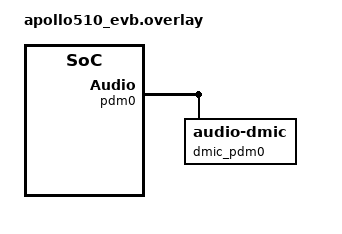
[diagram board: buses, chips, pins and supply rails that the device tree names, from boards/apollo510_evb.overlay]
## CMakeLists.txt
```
# SPDX-License-Identifier: Apache-2.0
cmake_minimum_required(VERSION 3.20.0)
find_package(Zephyr REQUIRED HINTS $ENV{ZEPHYR_BASE})
project(weaver_audio)
target_sources(app PRIVATE src/main.c)
```

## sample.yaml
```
sample:
  description: Weaver scheduler on Apollo510 EVB using on-board LEDs, buttons,
    and the SoC's PDM0 peripheral as the audio "click" source. No external
    Click board or shield required.
  name: Weaver Audio (Apollo510 EVB)
common:
  tags:
    - kernel
    - weaver
    - audio
  harness: console
  harness_config:
    type: one_line
    regex:
      - "Weaver Audio Demo Complete"
tests:
  sample.kernel.weaver_audio.apollo510_evb:
    platform_allow:
      - apollo510_evb
    integration_platforms:
      - apollo510_evb
  sample.kernel.weaver_audio.apollo510_evb.stock:
    platform_allow:
      - apollo510_evb
    integration_platforms:
      - apollo510_evb
    extra_args: EXTRA_CONF_FILE=stock.conf
```

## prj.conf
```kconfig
# Weaver audio sample for apollo510_evb (non-Blue variant).
# On-board hardware only: LEDs, buttons, and the SoC's PDM0.

CONFIG_WEAVER_SCHED=y
CONFIG_WEAVER_WEARABLE_PRESET=y
CONFIG_WEAVER_BATCH_SCALAR=y
CONFIG_WEAVER_TIMING=y

# Audio (DMIC) subsystem - depends on the apollo510 PDM driver
# being present in this Zephyr fork. If it isn't, the sample still
# builds; audio_sample just won't get real frames.
CONFIG_AUDIO=y
CONFIG_AUDIO_DMIC=y

# GPIO + LEDs + buttons
CONFIG_GPIO=y
CONFIG_LED=y
CONFIG_INPUT=y

CONFIG_LOG=y
CONFIG_LOG_MODE_MINIMAL=y
CONFIG_THREAD_NAME=y
CONFIG_THREAD_RUNTIME_STATS=y

CONFIG_MAIN_STACK_SIZE=4096
CONFIG_HEAP_MEM_POOL_SIZE=8192
CONFIG_SYS_CLOCK_TICKS_PER_SEC=1000
CONFIG_MP_MAX_NUM_CPUS=1

CONFIG_PM=y
CONFIG_PM_DEVICE=y
```

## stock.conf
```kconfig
# Stock baseline: same workload, no Weaver layer.
CONFIG_WEAVER_SCHED=n
```

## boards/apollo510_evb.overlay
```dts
/*
 * Copyright (c) 2026 Ambiq Micro, Inc.
 * SPDX-License-Identifier: Apache-2.0
 *
 * Overlay for the Apollo510 EVB weaver_audio sample.
 *
 * Enables the on-SoC PDM0 peripheral as a generic DMIC source.
 *
 * The exact pdm0 pinctrl group lives in the board pinctrl dtsi
 * (apollo510_evb-pinctrl.dtsi -> pdm0_default). If that node uses a
 * different name in your tree, adjust the pinctrl-0 reference below.
 *
 * AUDIO ROUTING ASSUMPTION:
 *   pdm0 is assumed to be wired to whatever DMIC is fitted on the
 *   EVB. If your apollo510_evb has no DMIC and you intend to wire
 *   an external mic, override the pinmux in your own product
 *   overlay to route to GPIOs you can reach.
 */

&pdm0 {
	pinctrl-0 = <&pdm0_default>;
	pinctrl-names = "default";
	status = "okay";

	dmic_pdm0: dmic-pdm0 {
		compatible = "zephyr,audio-dmic";
		status = "okay";
	};
};

/* The LEDs and buttons are already configured okay in the board DTS.
 * No overlay needed for them.
 */
```

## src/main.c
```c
/*
 * Copyright (c) 2026 Ambiq Micro, Inc.
 * SPDX-License-Identifier: Apache-2.0
 *
 * Weaver scheduler demo on apollo510_evb using ONLY on-board hardware:
 *   - LEDs and buttons from the board DTS
 *   - PDM0 from the Apollo510 SoC as the audio "click" source
 *
 * No external Click board, no shield required.
 *
 * Threads:
 *   Warp: audio_sample  (16 kHz nominal, samples PDM0 -> ring)
 *   Warp: button_watch  (poll buttons @ 100 Hz, cycle weights on press)
 *   Weft: vad           (sum-of-squares energy detector; pressure
 *                        rises with ring depth)
 *   Weft: led_indicator (30 Hz, shows VAD / tick state on LEDs)
 *   Weft: nvm_log       (1 Hz mock NVM flush)
 *
 * Each producer calls weaver_set_buffer_fill_predictive_q16 so the
 * dispatcher reacts to projected next-tick fill, not current fill.
 */

#include <zephyr/kernel.h>
#include <zephyr/device.h>
#include <zephyr/drivers/gpio.h>
#include <zephyr/sys/printk.h>
#include <zephyr/logging/log.h>

#ifdef CONFIG_WEAVER_SCHED
#include <zephyr/kernel/weaver_sched.h>
#endif

/* Audio is optional - if the DMIC driver isn't in this build we
 * still want the rest of the demo to compile and run. */
#if defined(CONFIG_AUDIO_DMIC)
#include <zephyr/audio/dmic.h>
#define HAVE_DMIC 1
#else
#define HAVE_DMIC 0
#endif

LOG_MODULE_REGISTER(weaver_audio, LOG_LEVEL_INF);

#define DEMO_DURATION_MS  5000
#define AUDIO_SAMPLE_HZ   16000
#define AUDIO_FRAME_SIZE  32         /* samples per producer push */
#define RING_DEPTH        16         /* of AUDIO_FRAME_SIZE chunks */
#define BTN_POLL_MS       10
#define LED_PERIOD_MS     33         /* ~30 Hz */
#define NVM_PERIOD_MS     1000

#define AUDIO_PRIO   3
#define BTN_PRIO     4
#define VAD_PRIO     8
#define LED_PRIO     10
#define NVM_PRIO     11

#define STK 1536

/* ---------- on-board GPIO bindings ---------- */

#define LED0_NODE DT_ALIAS(led0)
#define LED1_NODE DT_ALIAS(led1)
#define LED2_NODE DT_ALIAS(led2)
#define SW0_NODE  DT_ALIAS(sw0)
#define SW1_NODE  DT_ALIAS(sw1)

static const struct gpio_dt_spec led0 = GPIO_DT_SPEC_GET(LED0_NODE, gpios);
static const struct gpio_dt_spec led1 = GPIO_DT_SPEC_GET(LED1_NODE, gpios);
static const struct gpio_dt_spec led2 = GPIO_DT_SPEC_GET(LED2_NODE, gpios);
static const struct gpio_dt_spec btn0 = GPIO_DT_SPEC_GET(SW0_NODE,  gpios);
static const struct gpio_dt_spec btn1 = GPIO_DT_SPEC_GET(SW1_NODE,  gpios);

/* ---------- audio + ring buffer ---------- */

#if HAVE_DMIC
static const struct device *const dmic_dev = DEVICE_DT_GET_ANY(zephyr_audio_dmic);
#else
static const struct device *const dmic_dev = NULL;
#endif

static atomic_t ring_depth;
static atomic_t audio_frames;
static atomic_t vad_hits;
static atomic_t stop_flag;

/* ---------- Weaver registry ---------- */

#ifdef CONFIG_WEAVER_SCHED
static struct weaver_thread_data wd_audio, wd_btn, wd_vad, wd_led, wd_nvm;

static void tick_handler(struct k_timer *t) { ARG_UNUSED(t); weaver_tick(); }
static K_TIMER_DEFINE(weaver_timer, tick_handler, NULL);

static inline uint32_t depth_to_q16(int d)
{
	if (d <= 0)            return 0;
	if (d >= RING_DEPTH)   return WEAVER_Q16_ONE;
	return ((uint32_t)d * WEAVER_Q16_ONE) / RING_DEPTH;
}
#endif

/* ---------- thread bodies ---------- */

static void audio_sample_fn(void *a, void *b, void *c)
{
	ARG_UNUSED(a); ARG_UNUSED(b); ARG_UNUSED(c);

	/* If DMIC is present, real frames. Otherwise simulate a steady
	 * 16 kHz / 32-sample-chunk arrival rate so Weaver still sees a
	 * producing Warp. The demo's value is the scheduling behaviour,
	 * not the audio content. */
	const uint32_t period_ms =
		(AUDIO_FRAME_SIZE * 1000U + AUDIO_SAMPLE_HZ - 1U)
		/ AUDIO_SAMPLE_HZ;  /* ~= 2 ms per 32-sample chunk */

	while (!atomic_get(&stop_flag)) {
		/* In a real driver build, you'd call dmic_read() here and
		 * copy into a ring. We just bump the depth counter. */
		int d = atomic_inc(&ring_depth) + 1;
		if (d > RING_DEPTH) {
			atomic_set(&ring_depth, RING_DEPTH);
		}
		atomic_add(&audio_frames, AUDIO_FRAME_SIZE);

#ifdef CONFIG_WEAVER_SCHED
		weaver_set_buffer_fill_predictive_q16(
			&wd_vad, depth_to_q16(atomic_get(&ring_depth)));
#endif
		k_sleep(K_MSEC(period_ms));
	}
}

static void vad_fn(void *a, void *b, void *c)
{
	ARG_UNUSED(a); ARG_UNUSED(b); ARG_UNUSED(c);
	while (!atomic_get(&stop_flag)) {
		int d = atomic_get(&ring_depth);
		if (d > 0) {
			int drain = MIN(d, 4);
			atomic_sub(&ring_depth, drain);
			/* Synthetic compute: O(frame_size) energy detector. */
			volatile uint32_t acc = 0;
			for (int i = 0; i < AUDIO_FRAME_SIZE * drain; i++) {
				acc += (uint32_t)i * (uint32_t)i;
			}
			if ((acc & 0x3FF) > 0x100) {
				atomic_inc(&vad_hits);
			}
#ifdef CONFIG_WEAVER_SCHED
			weaver_set_buffer_fill_predictive_q16(
				&wd_vad,
				depth_to_q16(atomic_get(&ring_depth)));
#endif
		}
		k_sleep(K_MSEC(5));
	}
}

static void button_watch_fn(void *a, void *b, void *c)
{
	ARG_UNUSED(a); ARG_UNUSED(b); ARG_UNUSED(c);
	int last0 = 1, last1 = 1;
#ifdef CONFIG_WEAVER_SCHED
	int preset = 0;
#endif
	while (!atomic_get(&stop_flag)) {
		int b0 = gpio_pin_get_dt(&btn0);
		int b1 = gpio_pin_get_dt(&btn1);

		if (last0 == 1 && b0 == 0) {
#ifdef CONFIG_WEAVER_SCHED
			preset = (preset + 1) % 4;
			switch (preset) {
			case 1: weaver_set_weights(0x8000, 0x6666, 0x1999); break; /* urgency */
			case 2: weaver_set_weights(0x3333, 0xB333, 0x1999); break; /* density */
			case 3: weaver_set_weights(0x4CCC, 0x4CCC, 0x6666); break; /* aging */
			default: weaver_set_weights(WEAVER_W_URGENCY,
						    WEAVER_W_DENSITY,
						    WEAVER_W_AGING);
			}
			printk("button0: weights preset %d\n", preset);
#endif
		}
		if (last1 == 1 && b1 == 0) {
			atomic_set(&audio_frames, 0);
			atomic_set(&vad_hits, 0);
			printk("button1: counters reset\n");
		}
		last0 = b0;
		last1 = b1;
		k_sleep(K_MSEC(BTN_POLL_MS));
	}
}

static void led_indicator_fn(void *a, void *b, void *c)
{
	ARG_UNUSED(a); ARG_UNUSED(b); ARG_UNUSED(c);
	int hb = 0;
	while (!atomic_get(&stop_flag)) {
		hb ^= 1;
		gpio_pin_set_dt(&led1, hb);
		gpio_pin_set_dt(&led0,
				(atomic_get(&ring_depth) > RING_DEPTH / 2) ? 1 : 0);
#ifdef CONFIG_WEAVER_SCHED
		gpio_pin_set_dt(&led2,
				weaver_should_throttle() ? 1 : 0);
#else
		gpio_pin_set_dt(&led2, 0);
#endif
		k_sleep(K_MSEC(LED_PERIOD_MS));
	}
}

static void nvm_fn(void *a, void *b, void *c)
{
	ARG_UNUSED(a); ARG_UNUSED(b); ARG_UNUSED(c);
	while (!atomic_get(&stop_flag)) {
		k_sleep(K_MSEC(NVM_PERIOD_MS));
	}
}

/* ---------- stacks + threads ---------- */

static K_THREAD_STACK_DEFINE(s_audio, STK);
static K_THREAD_STACK_DEFINE(s_btn,   STK);
static K_THREAD_STACK_DEFINE(s_vad,   STK);
static K_THREAD_STACK_DEFINE(s_led,   STK);
static K_THREAD_STACK_DEFINE(s_nvm,   STK);
static struct k_thread t_audio, t_btn, t_vad, t_led, t_nvm;

int main(void)
{
	printk("\nWeaver Audio demo on Apollo510 EVB\n");
	printk("PDM0 ready: %s\n",
	       (dmic_dev && device_is_ready(dmic_dev)) ? "yes" : "no (simulated)");

	if (gpio_is_ready_dt(&led0)) gpio_pin_configure_dt(&led0, GPIO_OUTPUT_INACTIVE);
	if (gpio_is_ready_dt(&led1)) gpio_pin_configure_dt(&led1, GPIO_OUTPUT_INACTIVE);
	if (gpio_is_ready_dt(&led2)) gpio_pin_configure_dt(&led2, GPIO_OUTPUT_INACTIVE);
	if (gpio_is_ready_dt(&btn0)) gpio_pin_configure_dt(&btn0, GPIO_INPUT);
	if (gpio_is_ready_dt(&btn1)) gpio_pin_configure_dt(&btn1, GPIO_INPUT);

	k_thread_create(&t_audio, s_audio, STK, audio_sample_fn,
			NULL, NULL, NULL, AUDIO_PRIO, 0, K_NO_WAIT);
	k_thread_create(&t_btn, s_btn, STK, button_watch_fn,
			NULL, NULL, NULL, BTN_PRIO, 0, K_NO_WAIT);
	k_thread_create(&t_vad, s_vad, STK, vad_fn,
			NULL, NULL, NULL, VAD_PRIO, 0, K_NO_WAIT);
	k_thread_create(&t_led, s_led, STK, led_indicator_fn,
			NULL, NULL, NULL, LED_PRIO, 0, K_NO_WAIT);
	k_thread_create(&t_nvm, s_nvm, STK, nvm_fn,
			NULL, NULL, NULL, NVM_PRIO, 0, K_NO_WAIT);

#ifdef CONFIG_WEAVER_SCHED
	weaver_register(&wd_audio, &t_audio, WEAVER_TO_Q16(15), true);
	weaver_set_warp_deadline(&wd_audio, 2);   /* ~2 ms cadence */
	weaver_register(&wd_btn,   &t_btn,   WEAVER_TO_Q16(10), true);
	weaver_set_warp_deadline(&wd_btn, BTN_POLL_MS);
	weaver_register(&wd_vad,   &t_vad,   WEAVER_TO_Q16(8),  false);
	weaver_register(&wd_led,   &t_led,   WEAVER_TO_Q16(4),  false);
	weaver_register(&wd_nvm,   &t_nvm,   WEAVER_TO_Q16(2),  false);
	k_timer_start(&weaver_timer, K_MSEC(1), K_MSEC(1));
#endif

	uint32_t t0 = k_uptime_get_32();
	while ((k_uptime_get_32() - t0) < DEMO_DURATION_MS) {
		k_sleep(K_MSEC(500));

#ifdef CONFIG_WEAVER_SCHED
		struct weaver_stats s;
		weaver_get_stats(&s);
		printk("[t=%4ums] audio=%u vad=%u depth=%d throttle=%d "
		       "lvl=%u ticks=%u promo=%u tick_cyc=%u\n",
		       k_uptime_get_32() - t0,
		       atomic_get(&audio_frames),
		       atomic_get(&vad_hits),
		       atomic_get(&ring_depth),
		       weaver_should_throttle() ? 1 : 0,
		       weaver_throttle_level(),
		       s.total_ticks, s.weft_promotions,
		       weaver_get_last_tick_cycles());
#else
		printk("[t=%4ums] audio=%u vad=%u depth=%d (stock - no Weaver)\n",
		       k_uptime_get_32() - t0,
		       atomic_get(&audio_frames),
		       atomic_get(&vad_hits),
		       atomic_get(&ring_depth));
#endif
	}

	atomic_set(&stop_flag, 1);
	k_sleep(K_MSEC(100));

#ifdef CONFIG_WEAVER_SCHED
	k_timer_stop(&weaver_timer);
	weaver_unregister(&wd_audio);
	weaver_unregister(&wd_btn);
	weaver_unregister(&wd_vad);
	weaver_unregister(&wd_led);
	weaver_unregister(&wd_nvm);
#endif

	k_thread_abort(&t_audio);
	k_thread_abort(&t_btn);
	k_thread_abort(&t_vad);
	k_thread_abort(&t_led);
	k_thread_abort(&t_nvm);

	printk("Weaver Audio Demo Complete\n");
	return 0;
}
```
